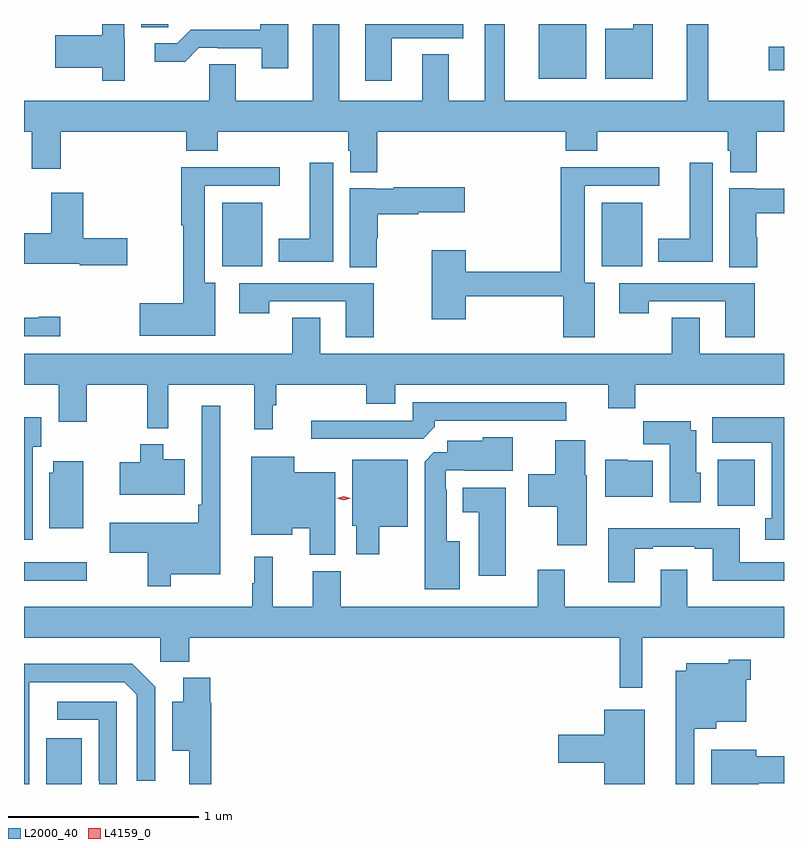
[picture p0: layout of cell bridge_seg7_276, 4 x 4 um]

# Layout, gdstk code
import gdstk
lib = gdstk.Library(unit=1e-6, precision=1e-09)
def R(c, l, rs):  # rectangles x0, y0, x1, y1
    for r in rs: c.add(gdstk.rectangle(r[:2], r[2:], *l))
def P(c, l, *ps):  # polygons
    for p in ps: c.add(gdstk.Polygon(p, *l))
L2000_40 = (2000, 40)
L4159_0 = (4159, 0)

bridge_seg7_276 = lib.new_cell('bridge_seg7_276')
R(bridge_seg7_276, L2000_40, [(124.457,1075.771,124.645,1076.011), (124.341,1076.84,124.672,1076.937), (127.991,1077.236,128.188,1077.478), (125.384,1078.496,125.596,1078.831), (127.382,1078.496,127.594,1078.831), (127.049,1079.483,127.3,1079.771), (128.262,1079.528,128.341,1079.65), (124.958,1079.755,125.1,1079.771)])
P(bridge_seg7_276, L2000_40, [(126.2,1079.204),(127.193,1079.204),(127.193,1079.105),(127.358,1079.105),(127.358,1079.204),(128.045,1079.204),(128.045,1079.103),(128.057,1079.103),(128.057,1078.991),(128.198,1078.991),(128.198,1079.204),(128.341,1079.204),(128.341,1079.368),(127.943,1079.368),(127.943,1079.771),(127.829,1079.771),(127.829,1079.368),(126.871,1079.368),(126.871,1079.771),(126.767,1079.771),(126.767,1079.368),(126.577,1079.368),(126.577,1079.611),(126.437,1079.611),(126.437,1079.368),(126.001,1079.368),(126.001,1079.771),(125.861,1079.771),(125.861,1079.368),(125.455,1079.368),(125.455,1079.558),(125.316,1079.558),(125.316,1079.368),(124.341,1079.368),(124.341,1079.204),(124.382,1079.204),(124.382,1079.01),(124.535,1079.01),(124.535,1079.204),(125.195,1079.204),(125.195,1079.105),(125.36,1079.105),(125.36,1079.204),(126.047,1079.204),(126.047,1079.103),(126.059,1079.103),(126.059,1078.991),(126.2,1078.991)],
  [(127.651,1079.771),(127.547,1079.771),(127.547,1079.746),(127.4,1079.746),(127.4,1079.483),(127.651,1079.483)],
  [(125.731,1079.771),(125.584,1079.771),(125.584,1079.741),(125.219,1079.741),(125.148,1079.67),(125.028,1079.67),(125.028,1079.573),(125.189,1079.573),(125.262,1079.646),(125.362,1079.646),(125.362,1079.643),(125.591,1079.643),(125.591,1079.538),(125.731,1079.538)],
  [(124.87,1079.694),(124.869,1079.694),(124.869,1079.771),(124.753,1079.771),(124.753,1079.711),(124.506,1079.711),(124.506,1079.54),(124.753,1079.54),(124.753,1079.472),(124.87,1079.472)],
  [(126.277,1079.696),(126.652,1079.696),(126.652,1079.771),(126.137,1079.771),(126.137,1079.472),(126.277,1079.472)],
  [(125.968,1079.041),(125.846,1079.041),(125.846,1078.642),(125.681,1078.642),(125.681,1078.52),(125.968,1078.52)],
  [(127.966,1079.041),(127.844,1079.041),(127.844,1078.642),(127.679,1078.642),(127.679,1078.52),(127.966,1078.52)],
  [(125.347,1078.408),(125.293,1078.408),(125.293,1078.92),(125.686,1078.92),(125.686,1079.018),(125.168,1079.018),(125.168,1078.713),(125.18,1078.713),(125.18,1078.301),(124.95,1078.301),(124.95,1078.13),(125.347,1078.13)],
  [(127.345,1078.408),(127.291,1078.408),(127.291,1078.92),(127.684,1078.92),(127.684,1079.018),(127.166,1079.018),(127.166,1078.466),(126.665,1078.466),(126.665,1078.579),(126.487,1078.579),(126.487,1078.218),(126.665,1078.218),(126.665,1078.338),(127.178,1078.338),(127.178,1078.122),(127.345,1078.122)],
  [(126.198,1078.643),(126.203,1078.643),(126.203,1078.769),(126.417,1078.769),(126.417,1078.781),(126.661,1078.781),(126.661,1078.911),(126.286,1078.911),(126.286,1078.903),(126.186,1078.903),(126.186,1078.906),(126.056,1078.906),(126.056,1078.492),(126.198,1078.492)],
  [(128.201,1078.649),(128.196,1078.649),(128.196,1078.774),(128.341,1078.774),(128.341,1078.903),(128.184,1078.903),(128.184,1078.906),(128.054,1078.906),(128.054,1078.492),(128.201,1078.492)],
  [(124.885,1078.643),(124.652,1078.643),(124.652,1078.882),(124.484,1078.882),(124.484,1078.671),(124.341,1078.671),(124.341,1078.508),(124.635,1078.508),(124.635,1078.501),(124.885,1078.501)],
  [(128.186,1078.407),(127.473,1078.407),(127.473,1078.248),(127.629,1078.248),(127.629,1078.311),(128.033,1078.311),(128.033,1078.122),(128.186,1078.122)],
  [(126.183,1078.407),(125.475,1078.407),(125.475,1078.248),(125.631,1078.248),(125.631,1078.311),(126.035,1078.311),(126.035,1078.122),(126.183,1078.122)],
  [(124.531,1078.229),(124.418,1078.229),(124.418,1078.224),(124.341,1078.224),(124.341,1078.128),(124.531,1078.128)],
  [(125.651,1077.764),(125.669,1077.764),(125.669,1077.872),(126.143,1077.872),(126.143,1077.773),(126.295,1077.773),(126.295,1077.872),(127.415,1077.872),(127.415,1077.748),(127.559,1077.748),(127.559,1077.872),(128.341,1077.872),(128.341,1078.036),(127.897,1078.036),(127.897,1078.226),(127.75,1078.226),(127.75,1078.036),(125.899,1078.036),(125.899,1078.226),(125.752,1078.226),(125.752,1078.036),(124.341,1078.036),(124.341,1077.872),(124.523,1077.872),(124.523,1077.678),(124.671,1077.678),(124.671,1077.872),(124.989,1077.872),(124.989,1077.644),(125.099,1077.644),(125.099,1077.872),(125.552,1077.872),(125.552,1077.639),(125.651,1077.639)],
  [(126.503,1077.65),(126.503,1077.684),(127.195,1077.684),(127.195,1077.78),(126.387,1077.78),(126.387,1077.684),(125.853,1077.684),(125.853,1077.588),(126.441,1077.588)],
  [(125.113,1076.876),(125.374,1076.876),(125.374,1077.763),(125.277,1077.763),(125.277,1077.241),(125.257,1077.241),(125.257,1077.145),(124.791,1077.145),(124.791,1076.987),(124.992,1076.987),(124.992,1076.811),(125.113,1076.811)],
  [(124.387,1077.546),(124.432,1077.546),(124.432,1077.7),(124.341,1077.7),(124.341,1077.057),(124.387,1077.057)],
  [(128.341,1077.7),(127.964,1077.7),(127.964,1077.566),(128.276,1077.566),(128.276,1077.17),(128.243,1077.17),(128.243,1077.057),(128.341,1077.057)],
  [(127.903,1077.408),(127.879,1077.408),(127.879,1077.634),(127.849,1077.634),(127.849,1077.679),(127.6,1077.679),(127.6,1077.56),(127.739,1077.56),(127.739,1077.254),(127.903,1077.254)],
  [(126.634,1077.049),(126.565,1077.049),(126.565,1077.323),(126.561,1077.323),(126.561,1077.423),(126.661,1077.423),(126.661,1077.419),(126.913,1077.419),(126.913,1077.595),(126.756,1077.595),(126.756,1077.577),(126.569,1077.577),(126.569,1077.516),(126.498,1077.516),(126.449,1077.467),(126.449,1076.795),(126.634,1076.795)],
  [(127.303,1077.396),(127.294,1077.396),(127.294,1077.58),(127.136,1077.58),(127.136,1077.4),(126.996,1077.4),(126.996,1077.231),(127.148,1077.231),(127.148,1077.027),(127.303,1077.027)],
  [(125.188,1077.481),(125.074,1077.481),(125.074,1077.559),(124.952,1077.559),(124.952,1077.465),(124.844,1077.465),(124.844,1077.293),(125.188,1077.293)],
  [(125.98,1077.412),(125.764,1077.412),(125.764,1077.493),(125.537,1077.493),(125.537,1077.083),(125.752,1077.083),(125.752,1077.116),(125.846,1077.116),(125.846,1076.977),(125.98,1076.977)],
  [(126.211,1077.125),(126.361,1077.125),(126.361,1077.478),(126.068,1077.478),(126.068,1077.129),(126.089,1077.129),(126.089,1076.979),(126.211,1076.979)],
  [(127.651,1077.472),(127.518,1077.472),(127.518,1077.478),(127.4,1077.478),(127.4,1077.284),(127.651,1077.284)],
  [(124.654,1077.469),(124.496,1077.469),(124.496,1077.408),(124.475,1077.408),(124.475,1077.116),(124.654,1077.116)],
  [(126.877,1077.331),(126.65,1077.331),(126.65,1077.2),(126.734,1077.2),(126.734,1076.868),(126.877,1076.868)],
  [(127.555,1077.009),(127.651,1077.009),(127.651,1077.021),(127.871,1077.021),(127.871,1077.009),(127.967,1077.009),(127.967,1076.84),(128.341,1076.84),(128.341,1076.937),(128.107,1076.937),(128.107,1077.118),(127.415,1077.118),(127.415,1076.832),(127.555,1076.832)],
  [(127.596,1076.54),(128.341,1076.54),(128.341,1076.704),(127.831,1076.704),(127.831,1076.899),(127.691,1076.899),(127.691,1076.704),(127.186,1076.704),(127.186,1076.899),(127.046,1076.899),(127.046,1076.704),(126.009,1076.704),(126.009,1076.892),(125.861,1076.892),(125.861,1076.704),(125.651,1076.704),(125.651,1076.968),(125.552,1076.968),(125.552,1076.828),(125.541,1076.828),(125.541,1076.704),(124.341,1076.704),(124.341,1076.54),(125.058,1076.54),(125.058,1076.414),(125.21,1076.414),(125.21,1076.54),(127.477,1076.54),(127.477,1076.277),(127.596,1076.277)],
  [(127.869,1076.063),(127.984,1076.063),(127.984,1076.099),(128.143,1076.099),(128.143,1076.321),(128.165,1076.321),(128.165,1076.425),(128.049,1076.425),(128.049,1076.407),(127.826,1076.407),(127.826,1076.368),(127.772,1076.368),(127.772,1075.771),(127.869,1075.771)],
  [(124.368,1076.107),(124.369,1076.107),(124.369,1076.307),(124.869,1076.307),(124.935,1076.241),(124.935,1075.788),(125.031,1075.788),(125.031,1076.283),(124.91,1076.404),(124.341,1076.404),(124.341,1075.771),(124.368,1075.771)],
  [(125.327,1076.199),(125.321,1076.199),(125.321,1076.329),(125.18,1076.329),(125.18,1076.203),(125.12,1076.203),(125.12,1075.946),(125.21,1075.946),(125.21,1075.771),(125.327,1075.771)],
  [(124.83,1076.205),(124.515,1076.205),(124.515,1076.109),(124.734,1076.109),(124.734,1075.789),(124.737,1075.789),(124.737,1075.771),(124.83,1075.771)],
  [(127.609,1076.161),(127.394,1076.161),(127.394,1076.03),(127.152,1076.03),(127.152,1075.883),(127.394,1075.883),(127.394,1075.771),(127.609,1075.771)],
  [(128.207,1075.774),(128.341,1075.774),(128.341,1075.916),(128.194,1075.916),(128.194,1075.951),(127.958,1075.951),(127.958,1075.771),(128.207,1075.771)])
P(bridge_seg7_276, L4159_0, [(126.023,1077.265),(125.987,1077.275),(125.986,1077.275),(125.987,1077.276),(126.024,1077.285),(126.06,1077.275),(126.061,1077.275),(126.06,1077.275)])

lib.write_gds('bridge_seg7_276.gds')
